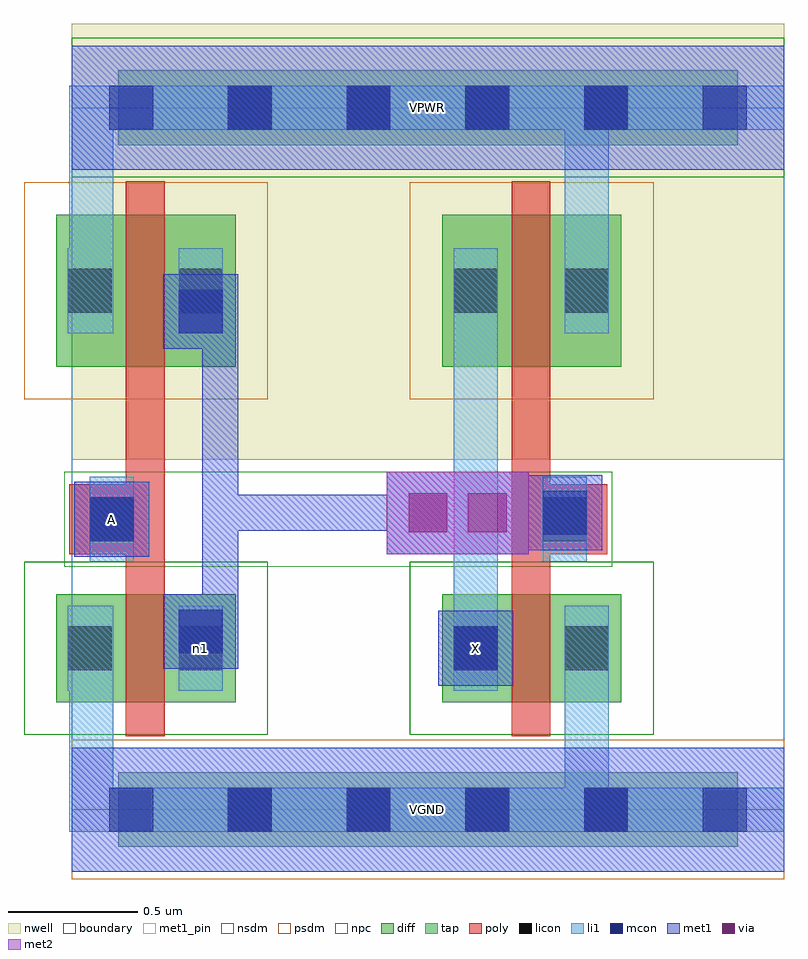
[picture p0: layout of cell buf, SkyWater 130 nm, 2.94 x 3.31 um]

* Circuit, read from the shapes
.subckt buf A VGND VPWR X n1
XM1 n1 A VGND VGND sky130_fd_pr__nfet_01v8 w=0.42 l=0.15
XM2 VGND n1 X VGND sky130_fd_pr__nfet_01v8 w=0.42 l=0.15
XM3 n1 A VPWR VPWR sky130_fd_pr__pfet_01v8 w=0.59 l=0.15
XM4 VPWR n1 X VPWR sky130_fd_pr__pfet_01v8 w=0.59 l=0.15
.ends

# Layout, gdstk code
import gdstk
lib = gdstk.Library(unit=1e-6, precision=1e-09)
def R(c, l, rs):  # rectangles x0, y0, x1, y1
    for r in rs: c.add(gdstk.rectangle(r[:2], r[2:], *l))
def A(c, l, x, y, w, h, nx, ny, dx, dy):  # array of equal rectangles
    R(c, l, [(x+i*dx, y+j*dy, x+i*dx+w, y+j*dy+h) for i in range(nx) for j in range(ny)])
nwell = (64, 20)
diff = (65, 20)
tap = (65, 44)
poly = (66, 20)
licon = (66, 44)
li1 = (67, 20)
mcon = (67, 44)
met1_pin = (68, 16)
met1 = (68, 20)
via = (68, 44)
met2 = (69, 20)
nsdm = (93, 44)
psdm = (94, 20)
npc = (95, 20)
boundary = (235, 4)

buf = lib.new_cell('buf')
R(buf, nwell, [(0,1.355,2.76,3.045)])
R(buf, diff, [(-0.06,0.415,0.635,0.835), (1.435,0.415,2.13,0.835), (-0.06,1.715,0.635,2.305), (1.435,1.715,2.13,2.305)])
R(buf, tap, [(0.18,-0.145,2.58,0.145), (0.18,2.575,2.58,2.865)])
R(buf, poly, [(0.21,0.285,0.36,2.435), (1.705,0.285,1.855,2.435), (-0.01,0.99,0.32,1.26), (1.745,0.99,2.075,1.26)])
A(buf, licon, 0.605, -0.085, 0.17, 0.17, 4, 2, 0.46, 2.72)
R(buf, licon, [(-0.015,0.54,0.155,0.71), (0.415,0.54,0.585,0.71), (1.48,0.54,1.65,0.71), (1.91,0.54,2.08,0.71), (0.07,1.04,0.24,1.21), (1.825,1.04,1.995,1.21), (-0.015,1.925,0.155,2.095), (0.415,1.925,0.585,2.095), (1.48,1.925,1.65,2.095), (1.91,1.925,2.08,2.095)])
R(buf, li1, [(-0.01,-0.085,0.16,0.79), (0,-0.085,2.76,0.085), (1.91,-0.085,2.08,0.79), (-0.015,0.46,0.155,0.79), (0.415,0.46,0.585,0.79), (1.48,0.46,1.65,0.79), (1.48,0.46,1.65,2.175), (1.91,0.46,2.08,0.79), (0.07,0.96,0.24,1.29), (1.825,0.96,1.995,1.29), (-0.015,1.845,0.155,2.175), (-0.01,1.845,0.16,2.805), (0.415,1.845,0.585,2.175), (1.48,1.845,1.65,2.175), (1.91,1.845,2.08,2.175), (1.91,1.845,2.08,2.805), (0,2.635,2.76,2.805)])
A(buf, mcon, 0.145, -0.085, 0.17, 0.17, 6, 2, 0.46, 2.72)
R(buf, mcon, [(1.48,0.54,1.65,0.71), (0.415,0.605,0.585,0.775), (0.07,1.04,0.24,1.21), (1.825,1.065,1.995,1.235), (0.415,1.845,0.585,2.015)])
R(buf, met1_pin, [(0,-0.24,2.76,0.24), (1.42,0.48,1.71,0.77), (0.01,0.98,0.3,1.27), (0,2.48,2.76,2.96)])
R(buf, met1, [(0,-0.24,2.76,0.24), (1.42,0.48,1.71,0.77), (0.355,0.545,0.645,0.835), (0.43,0.62,0.645,0.76), (0.505,0.62,0.645,1.91), (0.01,0.98,0.3,1.27), (1.22,0.99,1.54,1.31), (1.45,0.99,1.77,1.31), (1.765,1.005,2.055,1.295), (0.505,1.08,1.45,1.22), (1.54,1.08,1.795,1.22), (1.655,1.08,1.98,1.22), (0.505,1.77,0.645,2), (0.355,1.785,0.645,2.075), (0.43,1.86,0.645,2), (0,2.48,2.76,2.96)])
R(buf, via, [(1.305,1.075,1.455,1.225), (1.535,1.075,1.685,1.225)])
R(buf, met2, [(1.22,0.99,1.54,1.31), (1.45,0.99,1.77,1.31), (1.31,1.08,1.68,1.22)])
R(buf, nsdm, [(-0.185,0.29,0.76,0.96), (1.31,0.29,2.255,0.96), (0,2.45,2.76,2.99)])
R(buf, psdm, [(0,-0.27,2.76,0.27), (-0.185,1.59,0.76,2.43), (1.31,1.59,2.255,2.43)])
R(buf, npc, [(-0.03,0.94,2.095,1.31)])
R(buf, boundary, [(0,0,2.76,2.72)])
buf.add(gdstk.Label('n1', (0.5,0.625), layer=67, texttype=5))
buf.add(gdstk.Label('A', (0.155,1.125), layer=68, texttype=5))
buf.add(gdstk.Label('X', (1.565,0.625), layer=68, texttype=5))
buf.add(gdstk.Label('VPWR', (1.38,2.72), layer=68, texttype=5))
buf.add(gdstk.Label('VGND', (1.38,0), layer=68, texttype=5))
buf.add(gdstk.Label('A', (0.155,1.125), layer=68, texttype=16))
buf.add(gdstk.Label('X', (1.565,0.625), layer=68, texttype=16))
buf.add(gdstk.Label('VPWR', (1.38,2.72), layer=68, texttype=16))
buf.add(gdstk.Label('VGND', (1.38,0), layer=68, texttype=16))

lib.write_gds('buf.gds')
